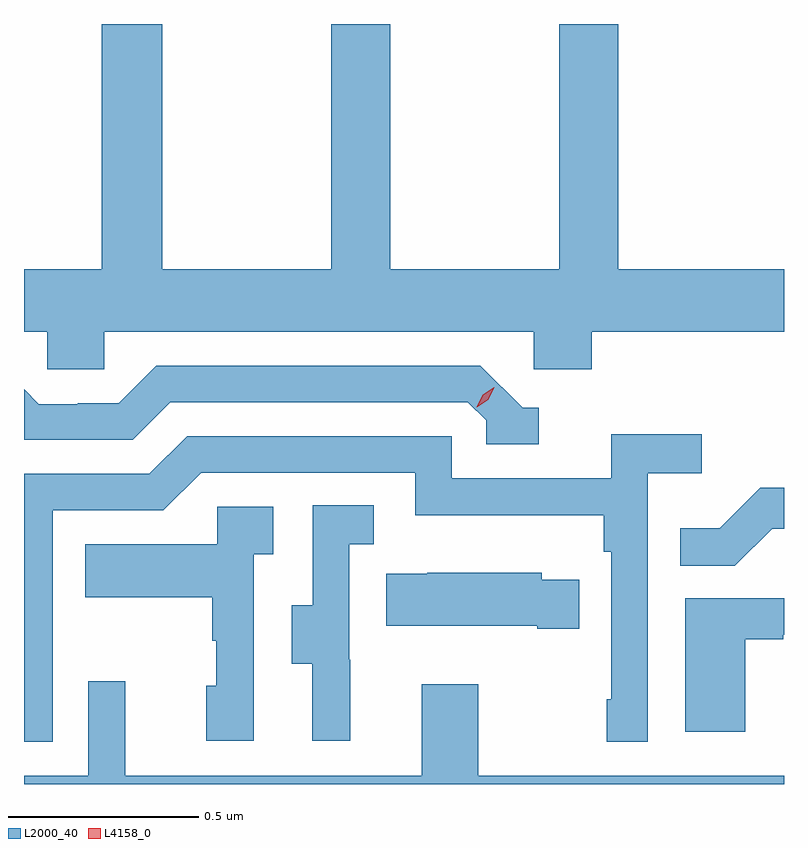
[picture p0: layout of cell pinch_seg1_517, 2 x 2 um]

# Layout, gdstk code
import gdstk
lib = gdstk.Library(unit=1e-6, precision=1e-09)
def P(c, l, *ps):  # polygons
    for p in ps: c.add(gdstk.Polygon(p, *l))
L2000_40 = (2000, 40)
L4158_0 = (4158, 0)

pinch_seg1_517 = lib.new_cell('pinch_seg1_517')
P(pinch_seg1_517, L2000_40, [(1124.853,533.084),(1125.984,533.084),(1125.984,532.986),(1126.136,532.986),(1126.136,533.084),(1126.642,533.084),(1126.642,533.248),(1126.206,533.248),(1126.206,533.894),(1126.051,533.894),(1126.051,533.248),(1125.606,533.248),(1125.606,533.894),(1125.451,533.894),(1125.451,533.248),(1125.006,533.248),(1125.006,533.894),(1124.846,533.894),(1124.846,533.248),(1124.642,533.248),(1124.642,533.084),(1124.703,533.084),(1124.703,532.986),(1124.853,532.986)],
  [(1125.997,532.884),(1125.954,532.884),(1125.843,532.995),(1124.99,532.995),(1124.891,532.896),(1124.784,532.896),(1124.784,532.893),(1124.681,532.893),(1124.642,532.933),(1124.642,532.8),(1124.928,532.8),(1125.027,532.899),(1125.81,532.899),(1125.858,532.851),(1125.858,532.788),(1125.997,532.788)],
  [(1124.718,532.614),(1125.009,532.614),(1125.108,532.713),(1125.672,532.713),(1125.672,532.601),(1126.168,532.601),(1126.168,532.505),(1126.188,532.505),(1126.188,532.117),(1126.176,532.117),(1126.176,532.005),(1126.284,532.005),(1126.284,532.712),(1126.426,532.712),(1126.426,532.814),(1126.187,532.814),(1126.187,532.698),(1125.768,532.698),(1125.768,532.809),(1125.071,532.809),(1124.972,532.71),(1124.642,532.71),(1124.642,532.005),(1124.718,532.005)],
  [(1126.611,532.566),(1126.642,532.566),(1126.642,532.674),(1126.58,532.674),(1126.473,532.567),(1126.369,532.567),(1126.369,532.468),(1126.513,532.468)],
  [(1125.5,532.221),(1125.498,532.221),(1125.498,532.525),(1125.562,532.525),(1125.562,532.628),(1125.402,532.628),(1125.402,532.365),(1125.347,532.365),(1125.347,532.21),(1125.401,532.21),(1125.401,532.008),(1125.5,532.008)],
  [(1125.246,532.499),(1125.298,532.499),(1125.298,532.623),(1125.15,532.623),(1125.15,532.525),(1124.803,532.525),(1124.803,532.385),(1125.138,532.385),(1125.138,532.271),(1125.148,532.271),(1125.148,532.152),(1125.122,532.152),(1125.122,532.008),(1125.246,532.008)],
  [(1126.103,532.432),(1126.005,532.432),(1126.005,532.45),(1125.703,532.45),(1125.703,532.447),(1125.595,532.447),(1125.595,532.31),(1125.992,532.31),(1125.992,532.303),(1126.103,532.303)],
  [(1126.54,532.275),(1126.64,532.275),(1126.64,532.287),(1126.642,532.287),(1126.642,532.383),(1126.382,532.383),(1126.382,532.032),(1126.54,532.032)],
  [(1126.642,531.916),(1125.837,531.916),(1125.837,532.156),(1125.689,532.156),(1125.689,531.916),(1124.909,531.916),(1124.909,532.165),(1124.811,532.165),(1124.811,531.916),(1124.642,531.916),(1124.642,531.894),(1126.642,531.894)])
P(pinch_seg1_517, L4158_0, [(1125.833,532.885),(1125.833,532.885),(1125.849,532.918),(1125.879,532.938),(1125.88,532.938),(1125.88,532.938),(1125.864,532.905),(1125.834,532.885)])

lib.write_gds('pinch_seg1_517.gds')
